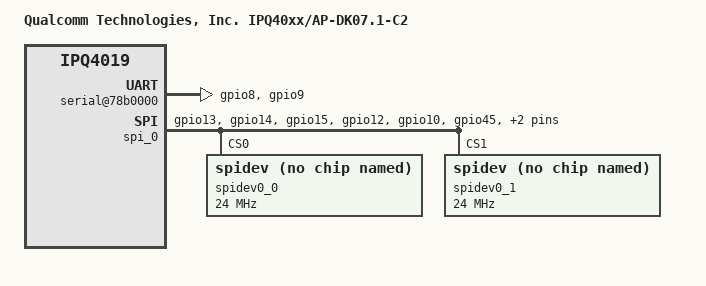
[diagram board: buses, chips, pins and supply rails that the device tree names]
/* Copyright (c) 2016, The Linux Foundation. All rights reserved.
 *
 * Permission to use, copy, modify, and/or distribute this software for any
 * purpose with or without fee is hereby granted, provided that the above
 * copyright notice and this permission notice appear in all copies.
 *
 * THE SOFTWARE IS PROVIDED "AS IS" AND THE AUTHOR DISCLAIMS ALL WARRANTIES
 * WITH REGARD TO THIS SOFTWARE INCLUDING ALL IMPLIED WARRANTIES OF
 * MERCHANTABILITY AND FITNESS. IN NO EVENT SHALL THE AUTHOR BE LIABLE FOR
 * ANY SPECIAL, DIRECT, INDIRECT, OR CONSEQUENTIAL DAMAGES OR ANY DAMAGES
 * WHATSOEVER RESULTING FROM LOSS OF USE, DATA OR PROFITS, WHETHER IN AN
 * ACTION OF CONTRACT, NEGLIGENCE OR OTHER TORTIOUS ACTION, ARISING OUT OF
 * OR IN CONNECTION WITH THE USE OR PERFORMANCE OF THIS SOFTWARE.
 *
 */

#include "qcom-ipq4019-ap.dk07.1.dtsi"

/ {
	model = "Qualcomm Technologies, Inc. IPQ40xx/AP-DK07.1-C2";

	soc {
		pcie0: pci@40000000 {
			status = "disabled";
		};

		pinctrl@0x01000000 {
			serial_1_pins: serial1_pinmux {
				mux {
					pins = "gpio8", "gpio9";
					function = "blsp_uart1";
					bias-disable;
				};
			};

			spi_0_pins: spi_0_pinmux {
				mux {
					pins = "gpio13", "gpio14", "gpio15";
					function = "blsp_spi0";
					bias-disable;
				};
				cs1 {
					pins = "gpio12";
					function = "gpio";
				};
				host_int1 {
					pins = "gpio10";
					function = "gpio";
					input;
				};
				cs2 {
					pins = "gpio45";
					function = "gpio";
				};
				host_int2 {
					pins = "gpio61";
					function = "gpio";
					input;
				};
				rst {
					pins = "gpio36";
					function = "gpio";
					output-high;
				};
			};

			wifi_0_pins: wifi1_pinmux {
				mux_1 {
					pins = "gpio37";
					function="wifi0_wci";
					bias-pull-up;
					drive-cap = <DRV_CAP_QUARTER>;
				};
				mux_2 {
					pins = "gpio43";
					function="wifi_wci1";
					bias-pull-up;
					drive-cap = <DRV_CAP_QUARTER>;
				};
				mux_3 {
					pins = "gpio42";
					function="gpio";
					bias-pull-down;
					drive-cap = <DRV_CAP_QUARTER>;
				};
				mux_4 {
					pins = "gpio40";
					function="gpio";
					bias-pull-down;
					drive-cap = <DRV_CAP_QUARTER>;
				};
			};
		};

		serial@78b0000 {
			pinctrl-0 = <&serial_1_pins>;
			pinctrl-names = "default";
			status = "ok";
		};

		spi_0: spi@78b5000 { /* BLSP1 QUP1 */
			pinctrl-0 = <&spi_0_pins>;
			pinctrl-names = "default";
			status = "ok";

			spidev0_0 {
				compatible = "qca,spidev";
				reg = <0>;
				spi-max-frequency = <24000000>;
			};
			spidev0_1 {
				compatible = "qca,spidev";
				reg = <1>;
				spi-max-frequency = <24000000>;
			};

		};

		wifi0: wifi@a000000 {
			pinctrl-0 = <&wifi_0_pins>;
			pinctrl-names = "default";
			btcoex_support = <1>;
			coex_gpio_pin_1 = <40>;
			coex_gpio_pin_2 = <42>;
			coex_gpio_pin_3 = <37>;
			coex_gpio_pin_4 = <43>;
		};

		wifi1: wifi@a800000 {
			btcoex_support = <0>;
		};
	};
};
